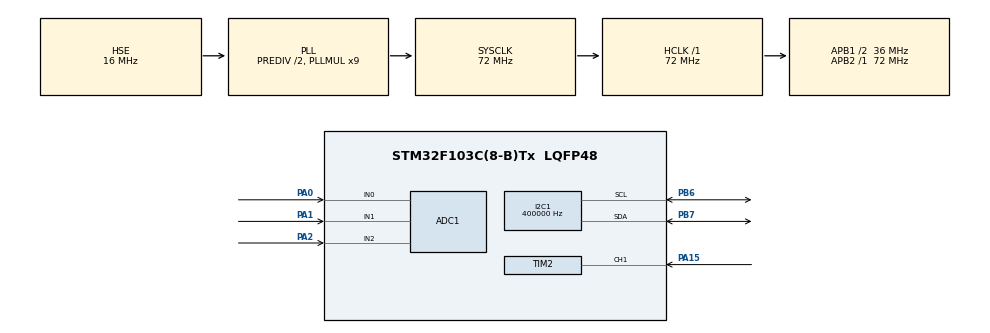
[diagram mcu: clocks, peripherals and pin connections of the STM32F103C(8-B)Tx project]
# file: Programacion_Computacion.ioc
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ADC1.Channel-0\#ChannelRegularConversion=ADC_CHANNEL_0
ADC1.Channel-1\#ChannelRegularConversion=ADC_CHANNEL_1
ADC1.Channel-2\#ChannelRegularConversion=ADC_CHANNEL_2
ADC1.ContinuousConvMode=ENABLE
ADC1.NbrOfConversion=3
ADC1.NbrOfConversionFlag=1
ADC1.Rank-0\#ChannelRegularConversion=1
ADC1.Rank-1\#ChannelRegularConversion=2
ADC1.Rank-2\#ChannelRegularConversion=3
ADC1.SamplingTime-0\#ChannelRegularConversion=ADC_SAMPLETIME_239CYCLES_5
ADC1.SamplingTime-1\#ChannelRegularConversion=ADC_SAMPLETIME_239CYCLES_5
ADC1.SamplingTime-2\#ChannelRegularConversion=ADC_SAMPLETIME_239CYCLES_5
ADC1.master=1
Dma.ADC1.0.Direction=DMA_PERIPH_TO_MEMORY
Dma.ADC1.0.Instance=DMA1_Channel1
Dma.ADC1.0.MemDataAlignment=DMA_MDATAALIGN_WORD
Dma.ADC1.0.MemInc=DMA_MINC_ENABLE
Dma.ADC1.0.Mode=DMA_CIRCULAR
Dma.ADC1.0.PeriphDataAlignment=DMA_PDATAALIGN_WORD
Dma.ADC1.0.PeriphInc=DMA_PINC_DISABLE
Dma.ADC1.0.Priority=DMA_PRIORITY_LOW
Dma.Request0=ADC1
I2C1.ClockSpeed=400000
I2C1.I2C_Mode=I2C_Fast
Mcu.Family=STM32F1
Mcu.Name=STM32F103C(8-B)Tx
Mcu.Package=LQFP48
NVIC.DMA1_Channel1_IRQn=true\:0\:0\:false\:false\:true\:false\:true
NVIC.PriorityGroup=NVIC_PRIORITYGROUP_4
NVIC.TIM2_IRQn=true\:0\:0\:false\:false\:true\:true\:true
PA0-WKUP.Signal=ADCx_IN0
PA1.Signal=ADCx_IN1
PA13.Mode=Serial_Wire
PA13.Signal=SYS_JTMS-SWDIO
PA14.Mode=Serial_Wire
PA14.Signal=SYS_JTCK-SWCLK
PA15.Signal=S_TIM2_CH1_ETR
PA2.Signal=ADCx_IN2
PB6.Mode=I2C
PB6.Signal=I2C1_SCL
PB7.Mode=I2C
PB7.Signal=I2C1_SDA
PD0-OSC_IN.Mode=HSE-External-Oscillator
PD0-OSC_IN.Signal=RCC_OSC_IN
PD1-OSC_OUT.Mode=HSE-External-Oscillator
PD1-OSC_OUT.Signal=RCC_OSC_OUT
ProjectManager.HeapSize=0x200
ProjectManager.StackSize=0x400
ProjectManager.TargetToolchain=MDK-ARM V5.27
RCC.ADCPresc=RCC_ADCPCLK2_DIV6
RCC.AHBFreq_Value=72000000
RCC.APB1CLKDivider=RCC_HCLK_DIV2
RCC.APB1Freq_Value=36000000
RCC.APB1TimFreq_Value=72000000
RCC.APB2Freq_Value=72000000
RCC.APB2TimFreq_Value=72000000
RCC.HCLKFreq_Value=72000000
RCC.HSEDivPLL=RCC_HSE_PREDIV_DIV2
RCC.HSE_VALUE=16000000
RCC.PLLMUL=RCC_PLL_MUL9
RCC.PLLSourceVirtual=RCC_PLLSOURCE_HSE
RCC.SYSCLKFreq_VALUE=72000000
RCC.SYSCLKSource=RCC_SYSCLKSOURCE_PLLCLK
RCC.USBFreq_Value=72000000
SH.ADCx_IN0.0=ADC1_IN0,IN0
SH.ADCx_IN1.0=ADC1_IN1,IN1
SH.ADCx_IN2.0=ADC1_IN2,IN2
SH.S_TIM2_CH1_ETR.0=TIM2_CH1,Input_Capture1_from_TI1
TIM2.Channel-Input_Capture1_from_TI1=TIM_CHANNEL_1
TIM2.Prescaler=71
board=custom

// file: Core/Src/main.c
/* USER CODE BEGIN Header */
/**
  ******************************************************************************
  * @file           : main.c
  * @brief          : Main program body
  ******************************************************************************
  * @attention
  *
  * <h2><center>&copy; Copyright (c) 2021 STMicroelectronics.
  * All rights reserved.</center></h2>
  *
  * This software component is licensed by ST under BSD 3-Clause license,
  * the "License"; You may not use this file except in compliance with the
  * License. You may obtain a copy of the License at:
  *                        opensource.org/licenses/BSD-3-Clause
  *
  ******************************************************************************
  */
/* USER CODE END Header */
#include "main.h"

ADC_HandleTypeDef hadc1;
DMA_HandleTypeDef hdma_adc1;

I2C_HandleTypeDef hi2c1;

TIM_HandleTypeDef htim2;

void SystemClock_Config(void);
static void MX_GPIO_Init(void);
static void MX_DMA_Init(void);
static void MX_ADC1_Init(void);
static void MX_TIM2_Init(void);
static void MX_I2C1_Init(void);
/* USER CODE BEGIN PFP */

// ************************ VARIABLES GLOBALES *********************************
// Variables del ADC
uint32_t mediciones[3]={0}; //Creo el vector buffer donde almacenare las mediciones de los canales

// Variables de la lectura de la frecuencia
uint32_t primera_medicion=0; // Variable en donde almacenare la primera medicion de tiempo
uint32_t segunda_medicion=0; // Variable en donde almacenare la segunda medicion de tiempo
float frecuencia=0; // Variable donde almacenare la frecuencia del pulso medido
uint8_t bandera_capturada=0; // Bandera que determina si se capturo la primera medicion de tiempo

// Variables del I2C
int8_t aceleracion[6]={0}; // Buffer que recibira las 6 aceleraciones
uint16_t gyroscopio[6]={0}; // Buffer que recibira los 6 gyroscopios
float aceleracion_X=0;
float aceleracion_Y=0;
float aceleracion_Z=0;
short despertar=0;
// *****************************************************************************

/* USER CODE END PFP */

int main(void)
{

  /* MCU Configuration--------------------------------------------------------*/

  /* Reset of all peripherals, Initializes the Flash interface and the Systick. */
  HAL_Init();

  /* Configure the system clock */
  SystemClock_Config();

  /* Initialize all configured peripherals */
  MX_GPIO_Init();
  MX_DMA_Init();
  MX_ADC1_Init();
  MX_TIM2_Init();
  MX_I2C1_Init();
  /* USER CODE BEGIN 2 */

// ************************ ADC ************************************************
	 HAL_ADC_Start_DMA(&hadc1,mediciones,3); // Inicializo el DMA colocando el vector en donde se almacenaran las mediciones y la cantidad de canales
// *****************************************************************************

// ************************ TIMER IC *******************************************
	 HAL_TIM_IC_Start_IT(&htim2,TIM_CHANNEL_1); // Activo el timer 2 en modo input capture con interrupcion
// *****************************************************************************

// ************************ I2C *******************************************
	 HAL_I2C_Mem_Write(&hi2c1,(0x68<<1),0x6B,1,(uint8_t *)&despertar,1,HAL_MAX_DELAY); // Despierto el IMU (doy un lapso de 10ms para hacer el proceso)
// *****************************************************************************
  /* USER CODE END 2 */

  /* Infinite loop */
  while (1)
  {

    /* USER CODE BEGIN 3 */
		// ***********************************Lectura de los valores I2C******************************************************************
		// Lectura de las aceleraciones
		HAL_I2C_Mem_Read(&hi2c1,(0x68<<1 |0x01),0x3B,1,(uint8_t *)aceleracion,6,HAL_MAX_DELAY); // Leo las 6 aceleraciones
		aceleracion_X=aceleracion[0]<<8 | aceleracion[1];
		aceleracion_Y=aceleracion[2]<<8 | aceleracion[3];
		aceleracion_Z=aceleracion[4]<<8 | aceleracion[5];

		// Calculo las aceleraciones en m/s^2
		aceleracion_X=(((float)aceleracion_X*2.0)/32767.0)*9.80665; // Convierto la aceleracion a m/s^2
		aceleracion_Y=(((float)aceleracion_Y*2.0)/32767.0)*9.80665; // Convierto la aceleracion a m/s^2
		aceleracion_Z=(((float)aceleracion_Z*2.0)/32767.0)*9.80665; // Convierto la aceleracion a m/s^2
		// *******************************************************************************************************************************
		HAL_Delay(500);
  }
  /* USER CODE END 3 */
}

void SystemClock_Config(void)
{
  RCC_OscInitTypeDef RCC_OscInitStruct = {0};
  RCC_ClkInitTypeDef RCC_ClkInitStruct = {0};
  RCC_PeriphCLKInitTypeDef PeriphClkInit = {0};

  /** Initializes the RCC Oscillators according to the specified parameters
  * in the RCC_OscInitTypeDef structure.
  */
  RCC_OscInitStruct.OscillatorType = RCC_OSCILLATORTYPE_HSE;
  RCC_OscInitStruct.HSEState = RCC_HSE_ON;
  RCC_OscInitStruct.HSEPredivValue = RCC_HSE_PREDIV_DIV2;
  RCC_OscInitStruct.HSIState = RCC_HSI_ON;
  RCC_OscInitStruct.PLL.PLLState = RCC_PLL_ON;
  RCC_OscInitStruct.PLL.PLLSource = RCC_PLLSOURCE_HSE;
  RCC_OscInitStruct.PLL.PLLMUL = RCC_PLL_MUL9;
  if (HAL_RCC_OscConfig(&RCC_OscInitStruct) != HAL_OK)
  {
    Error_Handler();
  }
  /** Initializes the CPU, AHB and APB buses clocks
  */
  RCC_ClkInitStruct.ClockType = RCC_CLOCKTYPE_HCLK|RCC_CLOCKTYPE_SYSCLK
                              |RCC_CLOCKTYPE_PCLK1|RCC_CLOCKTYPE_PCLK2;
  RCC_ClkInitStruct.SYSCLKSource = RCC_SYSCLKSOURCE_PLLCLK;
  RCC_ClkInitStruct.AHBCLKDivider = RCC_SYSCLK_DIV1;
  RCC_ClkInitStruct.APB1CLKDivider = RCC_HCLK_DIV2;
  RCC_ClkInitStruct.APB2CLKDivider = RCC_HCLK_DIV1;

  if (HAL_RCC_ClockConfig(&RCC_ClkInitStruct, FLASH_LATENCY_2) != HAL_OK)
  {
    Error_Handler();
  }
  PeriphClkInit.PeriphClockSelection = RCC_PERIPHCLK_ADC;
  PeriphClkInit.AdcClockSelection = RCC_ADCPCLK2_DIV6;
  if (HAL_RCCEx_PeriphCLKConfig(&PeriphClkInit) != HAL_OK)
  {
    Error_Handler();
  }
}

static void MX_ADC1_Init(void)
{

  ADC_ChannelConfTypeDef sConfig = {0};

  /** Common config
  */
  hadc1.Instance = ADC1;
  hadc1.Init.ScanConvMode = ADC_SCAN_ENABLE;
  hadc1.Init.ContinuousConvMode = ENABLE;
  hadc1.Init.DiscontinuousConvMode = DISABLE;
  hadc1.Init.ExternalTrigConv = ADC_SOFTWARE_START;
  hadc1.Init.DataAlign = ADC_DATAALIGN_RIGHT;
  hadc1.Init.NbrOfConversion = 3;
  if (HAL_ADC_Init(&hadc1) != HAL_OK)
  {
    Error_Handler();
  }
  /** Configure Regular Channel
  */
  sConfig.Channel = ADC_CHANNEL_0;
  sConfig.Rank = ADC_REGULAR_RANK_1;
  sConfig.SamplingTime = ADC_SAMPLETIME_239CYCLES_5;
  if (HAL_ADC_ConfigChannel(&hadc1, &sConfig) != HAL_OK)
  {
    Error_Handler();
  }
  /** Configure Regular Channel
  */
  sConfig.Channel = ADC_CHANNEL_1;
  sConfig.Rank = ADC_REGULAR_RANK_2;
  if (HAL_ADC_ConfigChannel(&hadc1, &sConfig) != HAL_OK)
  {
    Error_Handler();
  }
  /** Configure Regular Channel
  */
  sConfig.Channel = ADC_CHANNEL_2;
  sConfig.Rank = ADC_REGULAR_RANK_3;
  if (HAL_ADC_ConfigChannel(&hadc1, &sConfig) != HAL_OK)
  {
    Error_Handler();
  }

}

static void MX_I2C1_Init(void)
{

  hi2c1.Instance = I2C1;
  hi2c1.Init.ClockSpeed = 400000;
  hi2c1.Init.DutyCycle = I2C_DUTYCYCLE_2;
  hi2c1.Init.OwnAddress1 = 0;
  hi2c1.Init.AddressingMode = I2C_ADDRESSINGMODE_7BIT;
  hi2c1.Init.DualAddressMode = I2C_DUALADDRESS_DISABLE;
  hi2c1.Init.OwnAddress2 = 0;
  hi2c1.Init.GeneralCallMode = I2C_GENERALCALL_DISABLE;
  hi2c1.Init.NoStretchMode = I2C_NOSTRETCH_DISABLE;
  if (HAL_I2C_Init(&hi2c1) != HAL_OK)
  {
    Error_Handler();
  }

}

static void MX_TIM2_Init(void)
{

  TIM_MasterConfigTypeDef sMasterConfig = {0};
  TIM_IC_InitTypeDef sConfigIC = {0};

  htim2.Instance = TIM2;
  htim2.Init.Prescaler = 71;
  htim2.Init.CounterMode = TIM_COUNTERMODE_UP;
  htim2.Init.Period = 65535;
  htim2.Init.ClockDivision = TIM_CLOCKDIVISION_DIV1;
  htim2.Init.AutoReloadPreload = TIM_AUTORELOAD_PRELOAD_DISABLE;
  if (HAL_TIM_IC_Init(&htim2) != HAL_OK)
  {
    Error_Handler();
  }
  sMasterConfig.MasterOutputTrigger = TIM_TRGO_RESET;
  sMasterConfig.MasterSlaveMode = TIM_MASTERSLAVEMODE_DISABLE;
  if (HAL_TIMEx_MasterConfigSynchronization(&htim2, &sMasterConfig) != HAL_OK)
  {
    Error_Handler();
  }
  sConfigIC.ICPolarity = TIM_INPUTCHANNELPOLARITY_RISING;
  sConfigIC.ICSelection = TIM_ICSELECTION_DIRECTTI;
  sConfigIC.ICPrescaler = TIM_ICPSC_DIV1;
  sConfigIC.ICFilter = 0;
  if (HAL_TIM_IC_ConfigChannel(&htim2, &sConfigIC, TIM_CHANNEL_1) != HAL_OK)
  {
    Error_Handler();
  }

}

static void MX_DMA_Init(void)
{

  /* DMA controller clock enable */
  __HAL_RCC_DMA1_CLK_ENABLE();

  /* DMA interrupt init */
  /* DMA1_Channel1_IRQn interrupt configuration */
  HAL_NVIC_SetPriority(DMA1_Channel1_IRQn, 0, 0);
  HAL_NVIC_EnableIRQ(DMA1_Channel1_IRQn);

}

static void MX_GPIO_Init(void)
{

  /* GPIO Ports Clock Enable */
  __HAL_RCC_GPIOD_CLK_ENABLE();
  __HAL_RCC_GPIOA_CLK_ENABLE();
  __HAL_RCC_GPIOB_CLK_ENABLE();

}

void Error_Handler(void)
{
  __disable_irq();
  while (1)
  {
  }
}

/************************ (C) COPYRIGHT STMicroelectronics *****END OF FILE****/
